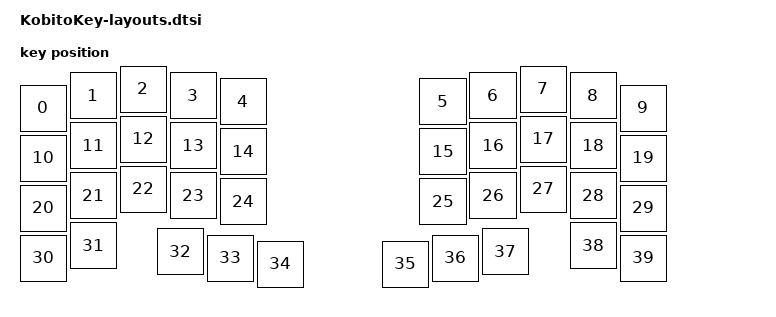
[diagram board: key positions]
#include <physical_layouts.dtsi>

/ {
    /* キーボード全体の物理レイアウト（名前は任意） */
    kobitokey_layout: physical_layout_0 {
        compatible = "zmk,physical-layout";
        display-name = "KobitoKey Default";

        keys // w h x y rot rx ry
            = <&key_physical_attrs 100 100    0  38 0 0 0>
            , <&key_physical_attrs 100 100  100  13 0 0 0>
            , <&key_physical_attrs 100 100  200   0 0 0 0>
            , <&key_physical_attrs 100 100  300  13 0 0 0>
            , <&key_physical_attrs 100 100  400  25 0 0 0>
            , <&key_physical_attrs 100 100  800  25 0 0 0>
            , <&key_physical_attrs 100 100  900  13 0 0 0>
            , <&key_physical_attrs 100 100 1000   0 0 0 0>
            , <&key_physical_attrs 100 100 1100  13 0 0 0>
            , <&key_physical_attrs 100 100 1200  38 0 0 0>

            , <&key_physical_attrs 100 100    0 138 0 0 0>
            , <&key_physical_attrs 100 100  100 113 0 0 0>
            , <&key_physical_attrs 100 100  200 100 0 0 0>
            , <&key_physical_attrs 100 100  300 113 0 0 0>
            , <&key_physical_attrs 100 100  400 125 0 0 0>
            , <&key_physical_attrs 100 100  800 125 0 0 0>
            , <&key_physical_attrs 100 100  900 113 0 0 0>
            , <&key_physical_attrs 100 100 1000 100 0 0 0>
            , <&key_physical_attrs 100 100 1100 113 0 0 0>
            , <&key_physical_attrs 100 100 1200 138 0 0 0>

            , <&key_physical_attrs 100 100    0 238 0 0 0>
            , <&key_physical_attrs 100 100  100 213 0 0 0>
            , <&key_physical_attrs 100 100  200 200 0 0 0>
            , <&key_physical_attrs 100 100  300 213 0 0 0>
            , <&key_physical_attrs 100 100  400 225 0 0 0>
            , <&key_physical_attrs 100 100  800 225 0 0 0>
            , <&key_physical_attrs 100 100  900 213 0 0 0>
            , <&key_physical_attrs 100 100 1000 200 0 0 0>
            , <&key_physical_attrs 100 100 1100 213 0 0 0>
            , <&key_physical_attrs 100 100 1200 238 0 0 0>

            , <&key_physical_attrs 100 100    0 338 0 0 0>
            , <&key_physical_attrs 100 100  100 313 0 0 0>
            , <&key_physical_attrs 100 100  275 325 0 0 0>
            , <&key_physical_attrs 100 100  375 338 0 0 0>
            , <&key_physical_attrs 100 100  475 350 0 0 0>
            , <&key_physical_attrs 100 100  725 350 0 0 0>
            , <&key_physical_attrs 100 100  825 338 0 0 0>
            , <&key_physical_attrs 100 100  925 325 0 0 0>
            , <&key_physical_attrs 100 100 1100 313 0 0 0>
            , <&key_physical_attrs 100 100 1200 338 0 0 0>
            ;
    };
};
